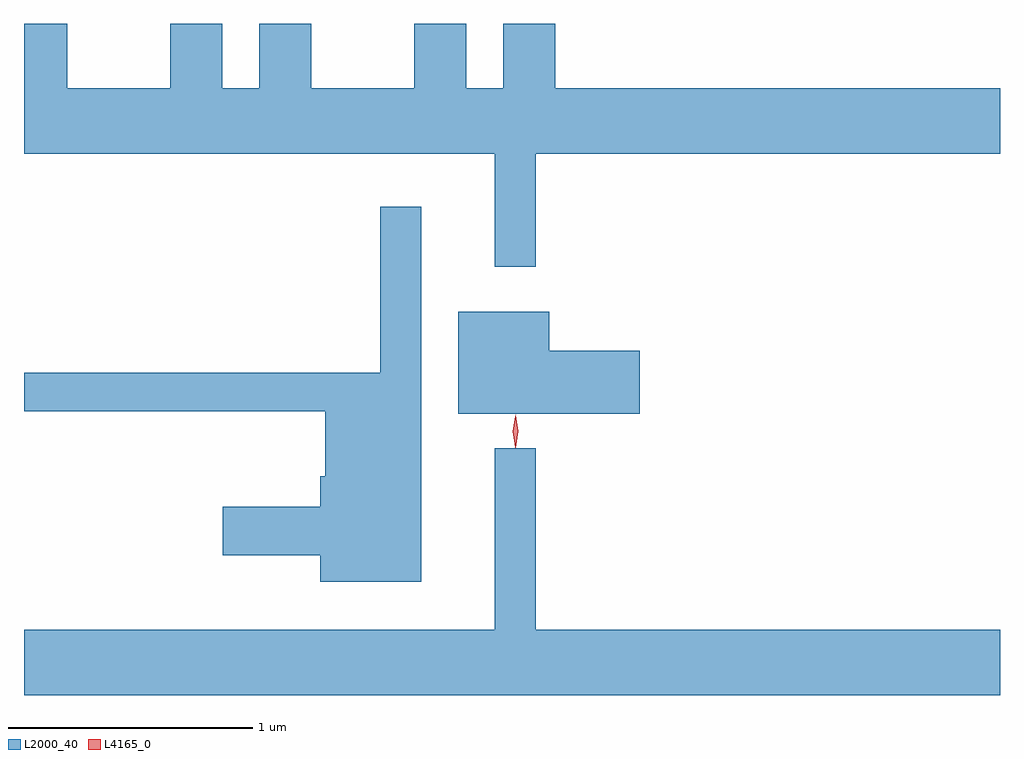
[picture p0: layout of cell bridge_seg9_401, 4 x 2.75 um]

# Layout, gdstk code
import gdstk
lib = gdstk.Library(unit=1e-6, precision=1e-09)
def P(c, l, *ps):  # polygons
    for p in ps: c.add(gdstk.Polygon(p, *l))
L2000_40 = (2000, 40)
L4165_0 = (4165, 0)

bridge_seg9_401 = lib.new_cell('bridge_seg9_401')
P(bridge_seg9_401, L2000_40, [(539.929,2071.736),(541.831,2071.736),(541.831,2072.004),(540.009,2072.004),(540.009,2072.269),(539.796,2072.269),(539.796,2072.004),(539.644,2072.004),(539.644,2072.269),(539.431,2072.269),(539.431,2072.004),(539.009,2072.004),(539.009,2072.269),(538.796,2072.269),(538.796,2072.004),(538.644,2072.004),(538.644,2072.269),(538.431,2072.269),(538.431,2072.004),(538.009,2072.004),(538.009,2072.269),(537.831,2072.269),(537.831,2071.736),(539.761,2071.736),(539.761,2071.273),(539.929,2071.273)],
  [(539.459,2071.518),(539.291,2071.518),(539.291,2070.839),(537.831,2070.839),(537.831,2070.681),(539.066,2070.681),(539.066,2070.414),(539.046,2070.414),(539.046,2070.289),(538.646,2070.289),(538.646,2070.091),(539.046,2070.091),(539.046,2069.981),(539.459,2069.981)],
  [(540.354,2070.929),(539.984,2070.929),(539.984,2071.089),(539.611,2071.089),(539.611,2070.671),(540.354,2070.671)],
  [(541.831,2069.784),(539.929,2069.784),(539.929,2070.528),(539.761,2070.528),(539.761,2069.784),(537.831,2069.784),(537.831,2069.516),(541.831,2069.516)])
P(bridge_seg9_401, L4165_0, [(539.844,2070.53),(539.836,2070.598),(539.846,2070.665),(539.847,2070.666),(539.847,2070.665),(539.856,2070.598),(539.846,2070.53),(539.845,2070.53)],
  [(539.845,2070.533),(539.844,2070.534),(539.834,2070.596),(539.844,2070.66),(539.844,2070.66),(539.845,2070.66),(539.854,2070.597),(539.845,2070.534)])

lib.write_gds('bridge_seg9_401.gds')
